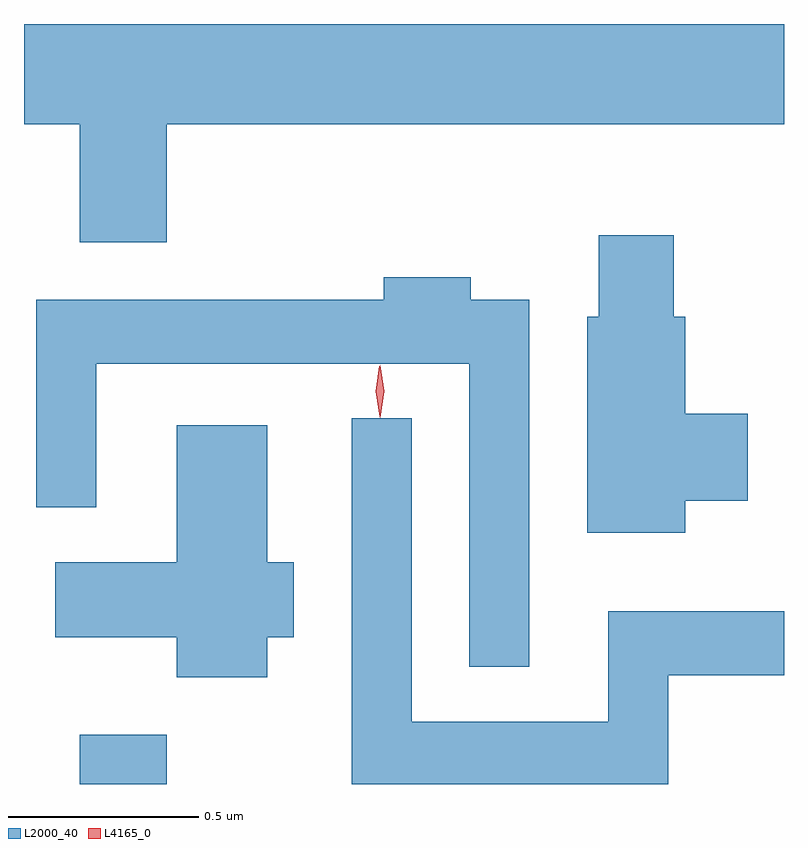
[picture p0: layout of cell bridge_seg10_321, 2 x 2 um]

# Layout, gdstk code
import gdstk
lib = gdstk.Library(unit=1e-6, precision=1e-09)
def R(c, l, rs):  # rectangles x0, y0, x1, y1
    for r in rs: c.add(gdstk.rectangle(r[:2], r[2:], *l))
def P(c, l, *ps):  # polygons
    for p in ps: c.add(gdstk.Polygon(p, *l))
L2000_40 = (2000, 40)
L4165_0 = (4165, 0)

bridge_seg10_321 = lib.new_cell('bridge_seg10_321')
R(bridge_seg10_321, L2000_40, [(1443.811,2167.68,1444.039,2167.809)])
P(bridge_seg10_321, L2000_40, [(1444.039,2169.416),(1445.664,2169.416),(1445.664,2169.68),(1443.664,2169.68),(1443.664,2169.416),(1443.811,2169.416),(1443.811,2169.106),(1444.039,2169.106)],
  [(1445.404,2168.426),(1445.569,2168.426),(1445.569,2168.654),(1445.404,2168.654),(1445.404,2168.909),(1445.374,2168.909),(1445.374,2169.124),(1445.176,2169.124),(1445.176,2168.909),(1445.146,2168.909),(1445.146,2168.341),(1445.404,2168.341)],
  [(1444.994,2168.954),(1444.839,2168.954),(1444.839,2169.014),(1444.611,2169.014),(1444.611,2168.954),(1443.696,2168.954),(1443.696,2168.408),(1443.854,2168.408),(1443.854,2168.786),(1444.836,2168.786),(1444.836,2167.988),(1444.994,2167.988)],
  [(1445.359,2167.966),(1445.664,2167.966),(1445.664,2168.134),(1445.201,2168.134),(1445.201,2167.844),(1444.684,2167.844),(1444.684,2168.643),(1444.526,2168.643),(1444.526,2167.68),(1445.359,2167.68)],
  [(1444.304,2168.066),(1444.374,2168.066),(1444.374,2168.264),(1444.304,2168.264),(1444.304,2168.624),(1444.066,2168.624),(1444.066,2168.264),(1443.746,2168.264),(1443.746,2168.066),(1444.066,2168.066),(1444.066,2167.961),(1444.304,2167.961)])
P(bridge_seg10_321, L4165_0, [(1444.601,2168.644),(1444.592,2168.713),(1444.601,2168.782),(1444.602,2168.782),(1444.602,2168.782),(1444.612,2168.713),(1444.602,2168.644),(1444.602,2168.644)],
  [(1444.6,2168.647),(1444.6,2168.647),(1444.59,2168.713),(1444.599,2168.78),(1444.599,2168.78),(1444.6,2168.78),(1444.61,2168.713),(1444.601,2168.647)])

lib.write_gds('bridge_seg10_321.gds')
